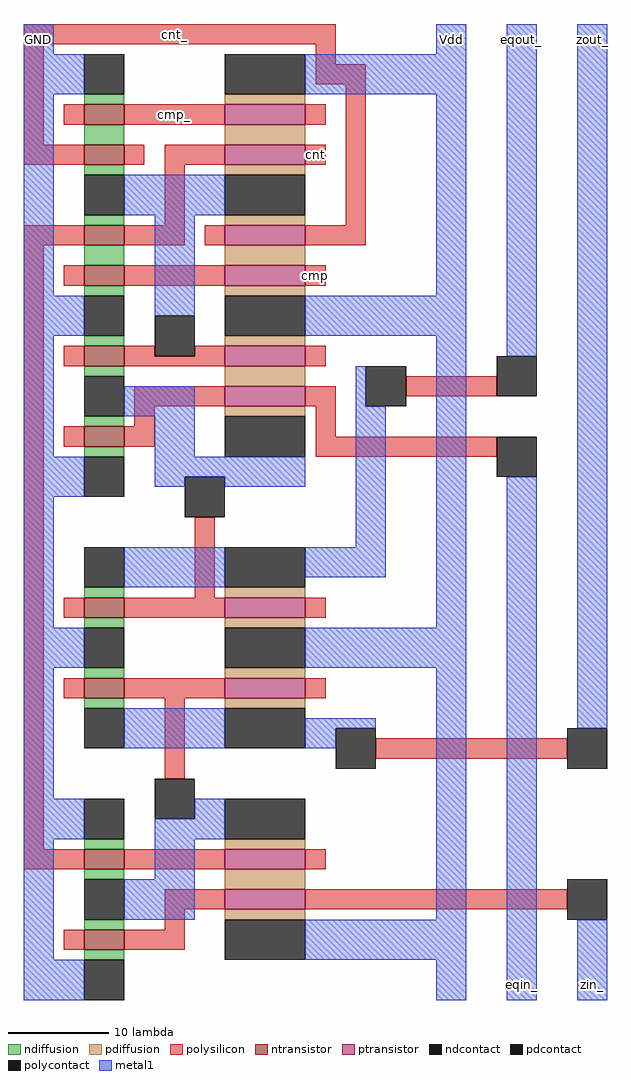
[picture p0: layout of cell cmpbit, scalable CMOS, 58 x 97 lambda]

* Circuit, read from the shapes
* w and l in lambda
.subckt cmpbit GND Vdd cmp cmp_ cnt cnt_ eqin_ eqout_ zin_ zout_
M1 n1 zin_ GND VSUBS nfet w=4 l=2
M2 GND cnt n1 VSUBS nfet w=4 l=2
M3 GND n1 zout_ VSUBS nfet w=4 l=2
M4 eqout_ n2 GND VSUBS nfet w=4 l=2
M5 n2 eqin_ GND VSUBS nfet w=4 l=2
M6 GND xor_0/out n2 VSUBS nfet w=4 l=2
M7 n3 cmp GND VSUBS nfet w=4 l=2
M8 xor_0/out cnt n3 VSUBS nfet w=4 l=2
M9 n4 cnt_ xor_0/out VSUBS nfet w=4 l=2
M10 GND cmp_ n4 VSUBS nfet w=4 l=2
M11 n5 zin_ Vdd NWELL pfet w=8 l=2
M12 n1 cnt n5 NWELL pfet w=8 l=2
M13 Vdd n1 zout_ NWELL pfet w=8 l=2
M14 eqout_ n2 Vdd NWELL pfet w=8 l=2
M15 n6 eqin_ n2 NWELL pfet w=8 l=2
M16 Vdd xor_0/out n6 NWELL pfet w=8 l=2
M17 n7 cmp Vdd NWELL pfet w=8 l=2
M18 xor_0/out cnt_ n7 NWELL pfet w=8 l=2
M19 n8 cnt xor_0/out NWELL pfet w=8 l=2
M20 Vdd cmp_ n8 NWELL pfet w=8 l=2
.ends

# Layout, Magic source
magic
tech scmos
<< polysilicon >>
rect 14 29 16 31
rect 14 21 16 23
rect 28 17 30 19
rect 0 9 4 11
rect 0 -51 2 9
rect 28 5 30 7
rect 4 -3 6 -1
rect 10 -2 13 -1
rect 17 -2 20 -1
rect 10 -3 20 -2
rect 28 -3 30 -1
rect 11 -7 20 -5
rect 28 -7 31 -5
rect 38 -6 47 -4
rect 11 -9 13 -7
rect 4 -11 6 -9
rect 10 -11 13 -9
rect 29 -10 31 -7
rect 29 -12 47 -10
rect 17 -26 19 -18
rect 14 -44 16 -36
rect 35 -42 54 -40
rect 0 -53 6 -51
rect 10 -53 20 -51
rect 28 -53 30 -51
rect 14 -57 20 -55
rect 28 -57 54 -55
rect 14 -59 16 -57
rect 4 -61 6 -59
rect 10 -61 16 -59
<< ndiffusion >>
rect 6 -1 10 0
rect 6 -4 10 -3
rect 6 -9 10 -8
rect 6 -12 10 -11
rect 6 -51 10 -50
rect 6 -54 10 -53
rect 6 -59 10 -58
rect 6 -62 10 -61
<< pdiffusion >>
rect 20 -1 28 0
rect 20 -5 28 -3
rect 20 -8 28 -7
rect 20 -51 28 -50
rect 20 -55 28 -53
rect 20 -58 28 -57
<< metal1 >>
rect 0 28 3 31
rect 41 28 44 31
rect 0 24 6 28
rect 28 24 44 28
rect 0 4 3 24
rect 0 0 6 4
rect 13 2 17 12
rect 41 4 44 24
rect 0 -12 3 0
rect 28 0 44 4
rect 10 -8 17 -5
rect 33 -7 34 -3
rect 13 -12 17 -8
rect 0 -16 6 -12
rect 13 -14 28 -12
rect 13 -15 16 -14
rect 0 -29 3 -16
rect 20 -15 28 -14
rect 33 -21 36 -7
rect 28 -24 36 -21
rect 41 -29 44 0
rect 48 -2 51 31
rect 0 -33 6 -29
rect 28 -33 44 -29
rect 0 -46 3 -33
rect 28 -39 35 -38
rect 28 -41 31 -39
rect 0 -50 6 -46
rect 17 -48 20 -46
rect 13 -50 20 -48
rect 0 -62 3 -50
rect 13 -54 17 -50
rect 10 -58 17 -54
rect 41 -58 44 -33
rect 28 -62 44 -58
rect 0 -66 6 -62
rect 41 -66 44 -62
rect 48 -66 51 -14
rect 55 -39 58 31
rect 55 -66 58 -58
<< ntransistor >>
rect 6 -3 10 -1
rect 6 -11 10 -9
rect 6 -53 10 -51
rect 6 -61 10 -59
<< ptransistor >>
rect 20 -3 28 -1
rect 20 -7 28 -5
rect 20 -53 28 -51
rect 20 -57 28 -55
<< polycontact >>
rect 13 -2 17 2
rect 34 -7 38 -3
rect 47 -6 51 -2
rect 47 -14 51 -10
rect 16 -18 20 -14
rect 31 -43 35 -39
rect 54 -43 58 -39
rect 13 -48 17 -44
rect 54 -58 58 -54
<< ndcontact >>
rect 6 0 10 4
rect 6 -8 10 -4
rect 6 -16 10 -12
rect 6 -50 10 -46
rect 6 -58 10 -54
rect 6 -66 10 -62
<< pdcontact >>
rect 20 -12 28 -8
rect 20 -50 28 -46
rect 20 -62 28 -58
use xor  xor_0
transform 1 0 6 0 1 0
box -6 0 28 31
use inverter  inverter_0
transform 0 1 -1 1 0 -28
box -5 5 7 31
use inverter  inverter_1
transform 0 1 -1 -1 0 -34
box -5 5 7 31
<< labels >>
rlabel metal1 0 28 3 31 4 GND
rlabel metal1 41 28 44 31 5 Vdd
rlabel metal1 48 28 51 31 5 eqout_
rlabel metal1 55 28 58 31 6 zout_
rlabel metal1 55 -66 58 -63 8 zin_
rlabel metal1 48 -66 51 -63 1 eqin_
rlabel polysilicon 15 30 15 30 5 cnt_
rlabel polysilicon 29 18 29 18 1 cnt
rlabel polysilicon 15 22 15 22 1 cmp_
rlabel polysilicon 29 6 29 6 1 cmp
<< end >>

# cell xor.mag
magic
tech scmos
<< polysilicon >>
rect -6 29 25 31
rect -6 19 -4 29
rect 23 27 25 29
rect 23 25 28 27
rect -2 21 0 23
rect 4 21 14 23
rect 22 21 24 23
rect -6 17 0 19
rect 4 17 6 19
rect 8 17 14 19
rect 22 17 24 19
rect 8 11 10 17
rect 26 11 28 25
rect -2 9 0 11
rect 4 9 10 11
rect 12 9 14 11
rect 22 9 28 11
rect -2 5 0 7
rect 4 5 14 7
rect 22 5 24 7
<< ndiffusion >>
rect 0 23 4 24
rect 0 19 4 21
rect 0 16 4 17
rect 0 11 4 12
rect 0 7 4 9
rect 0 4 4 5
<< pdiffusion >>
rect 14 23 22 24
rect 14 19 22 21
rect 14 16 22 17
rect 14 11 22 12
rect 14 7 22 9
rect 14 4 22 5
<< metal1 >>
rect 4 12 14 16
<< ntransistor >>
rect 0 21 4 23
rect 0 17 4 19
rect 0 9 4 11
rect 0 5 4 7
<< ptransistor >>
rect 14 21 22 23
rect 14 17 22 19
rect 14 9 22 11
rect 14 5 22 7
<< ndcontact >>
rect 0 24 4 28
rect 0 12 4 16
rect 0 0 4 4
<< pdcontact >>
rect 14 24 22 28
rect 14 12 22 16
rect 14 0 22 4
<< labels >>
rlabel polysilicon -1 22 -1 22 3 a
rlabel polysilicon -1 10 -1 10 3 b
rlabel polysilicon -1 6 -1 6 3 a_
rlabel polysilicon -1 18 -1 18 3 b_
rlabel metal1 9 14 9 14 1 out
<< end >>

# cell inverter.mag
magic
tech scmos
<< polysilicon >>
rect 0 29 2 31
rect 0 11 2 21
rect 0 5 2 7
<< ndiffusion >>
rect -1 7 0 11
rect 2 7 3 11
<< pdiffusion >>
rect -1 21 0 29
rect 2 21 3 29
<< metal1 >>
rect 3 11 7 21
<< ntransistor >>
rect 0 7 2 11
<< ptransistor >>
rect 0 21 2 29
<< ndcontact >>
rect -5 7 -1 11
rect 3 7 7 11
<< pdcontact >>
rect -5 21 -1 29
rect 3 21 7 29
<< labels >>
rlabel metal1 5 16 5 16 7 out
<< end >>
